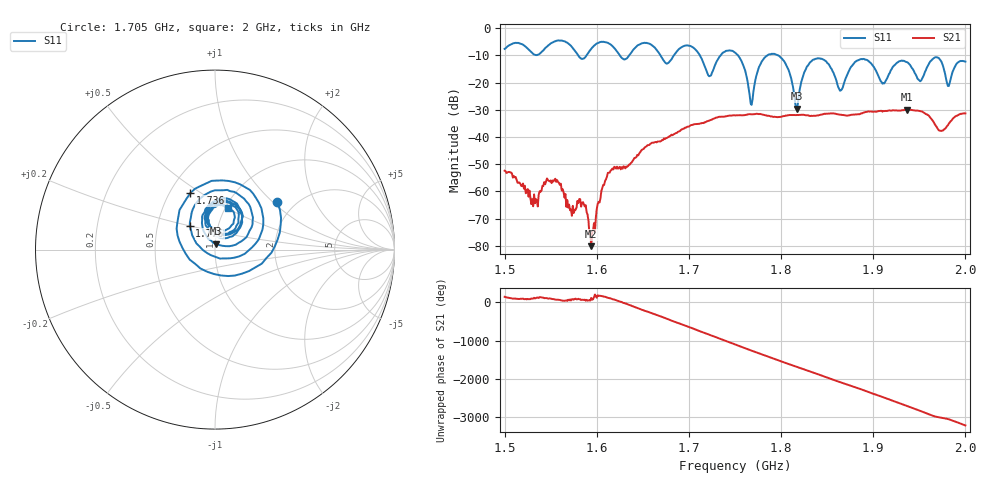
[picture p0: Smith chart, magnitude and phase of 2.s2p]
! NanoVNA-App by SYSJOINT et al v1.1.209 (+OD18)
! Date: 2026-01-21 14:42:26
! Start: 1,5GHz Stop: 2GHz Points: 501
! S-Parameter data: F S11 S21 S12 S22
# Hz S RI R 50
!  Frequency  S11_Real  S11_Imag  S21_Real  S21_Imag  S12_Real  S12_Imag  S22_Real  S22_Imag
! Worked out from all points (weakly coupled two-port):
!   501 points, 1.5 GHz to 2 GHz, reference 50 ohm
!   highest |S21| = -29.92 dB at 1.937 GHz (marker M1); lowest = -80.2 dB at 1.594 GHz (marker M2)
!   lowest |S11| = -29.6 dB at 1.817 GHz (marker M3), VSWR 1.07, Z = 50.6 + j3.27 ohm
!   |S11| at or under -10 dB: 1.712 GHz to 1.734 GHz (22.42 MHz wide, 1.3 % of centre); 1.753 GHz to 1.785 GHz (31.84 MHz wide, 1.8 % of centre); 1.797 GHz to end of sweep (the widest 3 of 6)
!   S12 and S22 are empty: the file has one direction only
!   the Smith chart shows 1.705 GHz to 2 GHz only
!   S11 on the Smith chart (normalised r, x): 1.705 GHz: 1.64, +1.07; 1.736 GHz: 0.63, +0.45; 1.776 GHz: 0.73, +0.20; 2 GHz: 1.03, +0.51
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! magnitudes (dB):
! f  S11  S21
! 1.5 GHz  -7.6  -52.4
! 1.584 GHz  -11.3  -64.2
! 1.594 GHz  -7.6  -80.2
! 1.614 GHz  -5.8  -53.1
! 1.667 GHz  -8.9  -41.7
! 1.705 GHz  -7.2  -35.4
! 1.722 GHz  -17.7  -33.9
! 1.736 GHz  -9.3  -32.5
! 1.75 GHz  -8.9  -32.1
! 1.767 GHz  -27.7  -31.6
! 1.776 GHz  -14.3  -31.6
! 1.799 GHz  -10.5  -32.6
! 1.817 GHz  -29.6  -31.9
! 1.834 GHz  -11.7  -32.3
! 1.864 GHz  -23.0  -31.8
! 1.885 GHz  -11.6  -31.6
! 1.917 GHz  -16.9  -30.3
! 1.937 GHz  -12.5  -29.9
! 1.951 GHz  -19.5  -30.5
! 1.97 GHz  -10.8  -37.0
! 1.982 GHz  -21.2  -35.1
! 2 GHz  -12.3  -31.3
